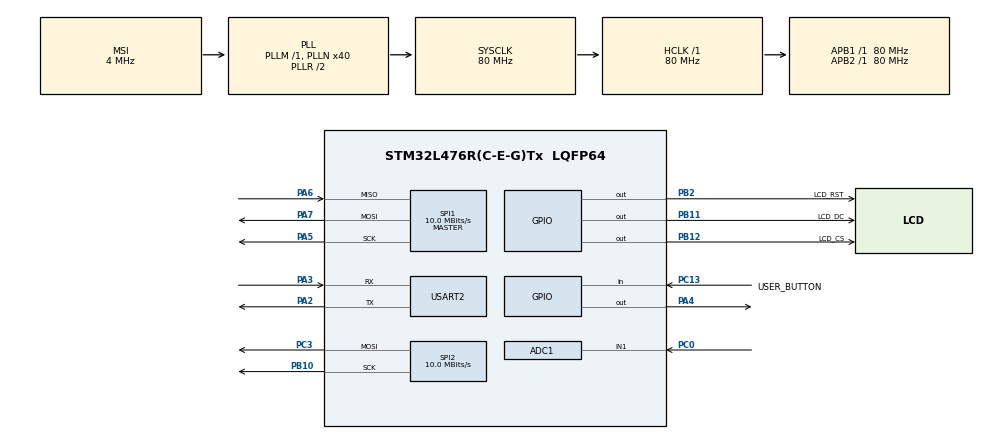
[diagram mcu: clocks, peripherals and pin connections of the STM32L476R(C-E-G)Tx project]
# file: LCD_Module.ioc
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ADC1.Channel-0\#ChannelRegularConversion=ADC_CHANNEL_1
ADC1.ContinuousConvMode=ENABLE
ADC1.DMAContinuousRequests=DISABLE
ADC1.NbrOfConversionFlag=1
ADC1.OffsetNumber-0\#ChannelRegularConversion=ADC_OFFSET_NONE
ADC1.Overrun=ADC_OVR_DATA_OVERWRITTEN
ADC1.Rank-0\#ChannelRegularConversion=1
ADC1.SamplingTime-0\#ChannelRegularConversion=ADC_SAMPLETIME_640CYCLES_5
ADC1.master=1
Dma.Request0=SPI2_TX
Dma.SPI2_TX.0.Direction=DMA_MEMORY_TO_PERIPH
Dma.SPI2_TX.0.Instance=DMA1_Channel5
Dma.SPI2_TX.0.MemDataAlignment=DMA_MDATAALIGN_BYTE
Dma.SPI2_TX.0.MemInc=DMA_MINC_ENABLE
Dma.SPI2_TX.0.Mode=DMA_NORMAL
Dma.SPI2_TX.0.PeriphDataAlignment=DMA_PDATAALIGN_BYTE
Dma.SPI2_TX.0.PeriphInc=DMA_PINC_DISABLE
Dma.SPI2_TX.0.Priority=DMA_PRIORITY_LOW
FATFS._FS_TIMEOUT=1000
FATFS._MAX_SS=4096
FATFS._USE_LFN=1
Mcu.Family=STM32L4
Mcu.Name=STM32L476R(C-E-G)Tx
Mcu.Package=LQFP64
NVIC.DMA1_Channel5_IRQn=true\:0\:0\:false\:false\:true\:false\:true\:true
NVIC.PriorityGroup=NVIC_PRIORITYGROUP_4
NVIC.TIM6_DAC_IRQn=true\:10\:0\:true\:false\:true\:true\:true\:true
NVIC.TIM7_IRQn=true\:10\:0\:true\:false\:true\:true\:true\:true
PA13\ (JTMS-SWDIO).Mode=Serial_Wire
PA13\ (JTMS-SWDIO).Signal=SYS_JTMS-SWDIO
PA14\ (JTCK-SWCLK).Mode=Serial_Wire
PA14\ (JTCK-SWCLK).Signal=SYS_JTCK-SWCLK
PA2.Mode=Asynchronous
PA2.Signal=USART2_TX
PA3.Mode=Asynchronous
PA3.Signal=USART2_RX
PA4.GPIO_Speed=GPIO_SPEED_FREQ_LOW
PA4.PinState=GPIO_PIN_SET
PA4.Signal=GPIO_Output
PA5.Mode=Full_Duplex_Master
PA5.Signal=SPI1_SCK
PA6.Mode=Full_Duplex_Master
PA6.Signal=SPI1_MISO
PA7.Mode=Full_Duplex_Master
PA7.Signal=SPI1_MOSI
PB10.Mode=TX_Only_Simplex_Unidirect_Master
PB10.Signal=SPI2_SCK
PB11.GPIO_Label=LCD_DC
PB11.Signal=GPIO_Output
PB12.GPIO_Label=LCD_CS
PB12.PinState=GPIO_PIN_SET
PB12.Signal=GPIO_Output
PB2.GPIO_Label=LCD_RST
PB2.Signal=GPIO_Output
PC0.Signal=ADCx_IN1
PC13.GPIO_Label=USER_BUTTON
PC13.Signal=GPIO_Input
PC3.Mode=TX_Only_Simplex_Unidirect_Master
PC3.Signal=SPI2_MOSI
ProjectManager.HeapSize=0x200
ProjectManager.StackSize=0x400
ProjectManager.TargetToolchain=STM32CubeIDE
RCC.ADCFreq_Value=32000000
RCC.AHBFreq_Value=80000000
RCC.APB1Freq_Value=80000000
RCC.APB1TimFreq_Value=80000000
RCC.APB2Freq_Value=80000000
RCC.APB2TimFreq_Value=80000000
RCC.CortexFreq_Value=80000000
RCC.HCLKFreq_Value=80000000
RCC.HSE_VALUE=8000000
RCC.HSI_VALUE=16000000
RCC.LSE_VALUE=32768
RCC.MSI_VALUE=4000000
RCC.PLLN=40
RCC.PLLSAI1N=16
RCC.SYSCLKFreq_VALUE=80000000
RCC.SYSCLKSource=RCC_SYSCLKSOURCE_PLLCLK
RCC.USBFreq_Value=32000000
RCC.VCOOutputFreq_Value=160000000
SH.ADCx_IN1.0=ADC1_IN1,IN1-Single-Ended
SPI1.BaudRatePrescaler=SPI_BAUDRATEPRESCALER_8
SPI1.CalculateBaudRate=10.0 MBits/s
SPI1.DataSize=SPI_DATASIZE_8BIT
SPI1.Direction=SPI_DIRECTION_2LINES
SPI1.Mode=SPI_MODE_MASTER
SPI1.NSSPMode=SPI_NSS_PULSE_ENABLE
SPI1.VirtualType=VM_MASTER
SPI2.BaudRatePrescaler=SPI_BAUDRATEPRESCALER_8
SPI2.CalculateBaudRate=10.0 MBits/s
SPI2.DataSize=SPI_DATASIZE_8BIT
SPI2.Direction=SPI_DIRECTION_2LINES
SPI2.Mode=SPI_MODE_MASTER
SPI2.NSSPMode=SPI_NSS_PULSE_DISABLE
SPI2.VirtualType=VM_MASTER
TIM6.Period=20
TIM6.Prescaler=7999
TIM7.Period=500
TIM7.Prescaler=7999
USART2.VirtualMode-Asynchronous=VM_ASYNC
VP_FATFS_VS_Generic.Mode=User_defined
VP_RTC_VS_RTC_Activate.Mode=RTC_Enabled
VP_TIM6_VS_ClockSourceINT.Mode=Enable_Timer
VP_TIM7_VS_ClockSourceINT.Mode=Enable_Timer
board=custom

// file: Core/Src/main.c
/* USER CODE BEGIN Header */
/**
  ******************************************************************************
  * @file           : main.c
  * @brief          : Main program body
  ******************************************************************************
  * @attention
  *
  * Copyright (c) 2023 STMicroelectronics.
  * All rights reserved.
  *
  * This software is licensed under terms that can be found in the LICENSE file
  * in the root directory of this software component.
  * If no LICENSE file comes with this software, it is provided AS-IS.
  *
  ******************************************************************************
  */
/* USER CODE END Header */
#include "main.h"
#include "adc.h"
#include "dma.h"
#include "fatfs.h"
#include "rtc.h"
#include "spi.h"
#include "tim.h"
#include "usart.h"
#include "gpio.h"

/* USER CODE BEGIN Includes */
#include "lcd.h"
#include <stdio.h>
#include <math.h>
#include <string.h>

/* USER CODE END Includes */

/* USER CODE BEGIN PTD */

#define GRAPH_BUFFOR_SIZE 160
#define Y_AXIS_OFFSET 1
#define X_AXIS_OFFSET 64

#define BACKGROUND_COLOR 	BLACK
#define AXIS_COLOR 			WHITE
#define CHART_COLOR			GREEN

/* USER CODE END PTD */

/* USER CODE BEGIN PD */

FATFS fs;
FIL fil;

int free_clusters;

RTC_TimeTypeDef time;
RTC_DateTypeDef date;

int seconds = 0, minutes = 0, hours = 0;

long int SD_counter = 0;

typedef struct {
    int32_t data[GRAPH_BUFFOR_SIZE];
    int head;
} GraphBuffer;

GraphBuffer graphBuffer;
GraphBuffer ZoomedOutGraphBuffer;

uint32_t value = 0;
uint32_t rescaled_value = 0;

float filteredValue = 0;  // Holds the filtered value
const float alpha = 0.7;  // Filter coefficient, adjust as needed

float voltage;

#define QRS_BUFFOR_SIZE 500

typedef struct {
	int data[QRS_BUFFOR_SIZE];
	int head;
	int previous, current, next;
} QRSBuffer;

QRSBuffer derivativeBuffer;

int derivative = 0;
int median_filtered_value = 0;

#define MEDIAN_BUFFOR_SIZE 5	//musi być liczba nieparzysta

typedef struct {
    int data[MEDIAN_BUFFOR_SIZE];
    int head;
} MedianBuffer;

MedianBuffer mBuffer;

#define LOWPASS_FILTER_SIZE 491 //41
#define LOWPASS_FILTER2_SIZE 491

typedef struct {
	int data[LOWPASS_FILTER_SIZE];
	int head;
} LowPassFilter;

LowPassFilter LowPass;

int32_t LPvalue;

int filterTimeCounter = 0;
int filterAvarageTicks = 0;
int TimeCounter = 0;

double filter_coefficients2[41] = {

		-0.00000000000000000, -0.00084388399507143, 0.00172480322214108, -0.00231835925473623, 0.00196357837057156,
		-0.00000000000000001, -0.00360465196592370, 0.00771487906070590, -0.01004082432204096, 0.00796400731979479, -0.00000000000000002,
		-0.01272687129871608, 0.02582363511903904, -0.03239793500394676, 0.02528013244720928, -0.00000000000000003, -0.04268216706926069,
		 0.09588895516209603, -0.14801625740913227, 0.18611212629983057, 0.80031766663487980, 0.18611212629983057, -0.14801625740913227,
		 0.09588895516209603, -0.04268216706926069, -0.00000000000000003, 0.02528013244720928, -0.03239793500394676, 0.02582363511903904,
		 -0.01272687129871608, -0.00000000000000002, 0.00796400731979479, -0.01004082432204096, 0.00771487906070590, -0.00360465196592370,
		 -0.00000000000000001, 0.00196357837057156, -0.00231835925473623, 0.00172480322214108, -0.00084388399507143, -0.00000000000000000};

double filter_coefficients[491] = {

		-0.006724665374820101,
		  -0.0039592405521505425,
		  -0.004879842672090847,
		  -0.005739436212265738,
		  -0.006473414299707283,
		  -0.0070174509406664065,
		  -0.007313012324351356,
		  -0.007311454168248525,
		  -0.006979710764297932,
		  -0.006302835093303763,
		  -0.005287356556378177,
		  -0.003961723353658333,
		  -0.0023757965558372303,
		  -0.0005988687959034679,
		  0.0012846423368572202,
		  0.0031804194041918123,
		  0.004989989147426519,
		  0.006617906605274425,
		  0.007978144220548312,
		  0.009000370456116963,
		  0.00963561712424311,
		  0.009859823620655492,
		  0.009675922372876462,
		  0.009114240543608798,
		  0.008229889822016166,
		  0.007098660335239779,
		  0.0058114576331865534,
		  0.004466958691646338,
		  0.0031640614866178785,
		  0.001994754958797834,
		  0.0010372535697518407,
		  0.00035018832064850084,
		  -0.0000316878151375713,
		  -0.00009979985099640354,
		  0.0001279462620581436,
		  0.0006089181959532771,
		  0.0012803236653627956,
		  0.0020655007292555163,
		  0.0028808092925518745,
		  0.003643281437626687,
		  0.004277629983100943,
		  0.004721770266061771,
		  0.004932084620797877,
		  0.004887422588363258,
		  0.004591207302807786,
		  0.004071348980577778,
		  0.0033765519649118776,
		  0.0025699599995857585,
		  0.0017229187244479393,
		  0.0009088726991713141,
		  0.000198365239799021,
		  -0.00034681086809946164,
		  -0.0006818755743303907,
		  -0.0007858211828020191,
		  -0.0006611599558581819,
		  -0.00032840133644604515,
		  0.00017727870154062673,
		  0.0007987440562488426,
		  0.0014607127507710379,
		  0.002096780427785378,
		  0.002653637338425714,
		  0.0030485458836070206,
		  0.003262979591314785,
		  0.003259839052466486,
		  0.0030431766166477132,
		  0.0026304290591559827,
		  0.0020607199420756323,
		  0.0013874693776336233,
		  0.0006749311163228131,
		  -0.00000963016661013781,
		  -0.0006010655262245917,
		  -0.0010439535004921193,
		  -0.001297748856870107,
		  -0.0013405110851259089,
		  -0.0011714991943510562,
		  -0.000810879483457281,
		  -0.00029742430192708215,
		  0.0003146649172919567,
		  0.0009616688975564811,
		  0.0015764142387132863,
		  0.0020945573064679863,
		  0.0024615771594911993,
		  0.0026382054341945907,
		  0.0026040197751395593,
		  0.002360063382717492,
		  0.0019285413288921607,
		  0.0013502288762677727,
		  0.0006807841869889326,
		  -0.000014480375247198256,
		  -0.0006671131049351773,
		  -0.001212448893684446,
		  -0.001596269583429432,
		  -0.0017803135592194073,
		  -0.0017463361417471976,
		  -0.0014977962895742914,
		  -0.001059186745037265,
		  -0.0004742618964127832,
		  0.00019770396757928525,
		  0.000888040002417127,
		  0.001525689456974742,
		  0.002044653947339687,
		  0.0023908249025104606,
		  0.0025267086770198142,
		  0.002435174721928312,
		  0.002121905862725469,
		  0.0016154484421309916,
		  0.0009647222256839877,
		  0.000233563635124051,
		  -0.0005063531853019121,
		  -0.0011813298880232114,
		  -0.0017222632441453295,
		  -0.002072835626498741,
		  -0.0021966661307383064,
		  -0.002080080229624072,
		  -0.0017316884329294407,
		  -0.001183300533026521,
		  -0.0004903977566402818,
		  0.0002776975291079214,
		  0.0010459705289211738,
		  0.0017342987007244492,
		  0.002268932313180422,
		  0.002598334594491151,
		  0.002679463736630121,
		  0.0025046953842694387,
		  0.002084506654881727,
		  0.0014587960530604393,
		  0.0006866415726633514,
		  -0.00015578410529333046,
		  -0.0009850387611147508,
		  -0.001716475964921645,
		  -0.0022751481102348077,
		  -0.0026016183324591483,
		  -0.0026592322103422945,
		  -0.0024380894815064376,
		  -0.001955852355017696,
		  -0.0012571698284203788,
		  -0.00040970036530490995,
		  0.0005030366132415669,
		  0.0013889951855443744,
		  0.0021573580428614707,
		  0.0027280556827255858,
		  0.003039136013865625,
		  0.003053521103786466,
		  0.002763810546538518,
		  0.002193151835628833,
		  0.0013936931549081402,
		  0.0004420555157804875,
		  -0.0005682957821342262,
		  -0.0015363221411339113,
		  -0.0023631979727147816,
		  -0.002962018447783027,
		  -0.0032670132481304294,
		  -0.0032411431703225813,
		  -0.0028801596282385347,
		  -0.0022134906585668315,
		  -0.0013022175330133895,
		  -0.00023344257158772061,
		  0.0008877621092884505,
		  0.001948251056949869,
		  0.0028385216433642895,
		  0.0034640646473657285,
		  0.003754952085148802,
		  0.0036733777478027275,
		  0.0032180385336624713,
		  0.0024256319928504327,
		  0.0013685039871313138,
		  0.00014742315498719977,
		  -0.0011182060861168336,
		  -0.0023010017621534723,
		  -0.003278237649604041,
		  -0.003944975486449301,
		  -0.004225447724876906,
		  -0.004080471110798365,
		  -0.003512223671868546,
		  -0.002566804645981423,
		  -0.0013303407668937672,
		  0.00008083661809819983,
		  0.0015283011428720487,
		  0.0028647573653323715,
		  0.003951821725081272,
		  0.0046715158281848065,
		  0.004937056494208208,
		  0.004709339867739604,
		  0.0039929468318752985,
		  0.002846563055546284,
		  0.0013713053632263285,
		  -0.0002930863055740355,
		  -0.001984494759627223,
		  -0.0035309946691470698,
		  -0.0047707894977827734,
		  -0.005565436118432528,
		  -0.005818010832860896,
		  -0.005482124573820861,
		  -0.004569201490560631,
		  -0.003149980554713361,
		  -0.0013485107230243431,
		  0.0006675135833448967,
		  0.0027010726086147867,
		  0.004545813474137445,
		  0.006005545901987634,
		  0.006914038674769464,
		  0.007153828906109374,
		  0.006669593976789687,
		  0.005475923408668897,
		  0.003659906521809703,
		  0.0013758828686440234,
		  -0.0011670880119533842,
		  -0.003723465881098876,
		  -0.006033477794114198,
		  -0.007847911134326176,
		  -0.00895361528950788,
		  -0.00919654696182677,
		  -0.008499976682260126,
		  -0.00687683209351048,
		  -0.004433591159930186,
		  -0.0013650181362259298,
		  0.0020590529469560986,
		  0.005514953655964573,
		  0.008653130201617525,
		  0.011130081179609811,
		  0.012641896880767457,
		  0.012955860115718755,
		  0.011937431472223406,
		  0.00957094808924724,
		  0.005970361321244434,
		  0.001378649724826345,
		  -0.003843202803927939,
		  -0.009237945620379866,
		  -0.014284003731359221,
		  -0.018434636670428897,
		  -0.021161074404101234,
		  -0.021996111287966347,
		  -0.020576235774781685,
		  -0.0166771128822221,
		  -0.010238084024046364,
		  -0.0013766816948736296,
		  0.00960890053902094,
		  0.02225469804659545,
		  0.03595673277608928,
		  0.05000709575744708,
		  0.06364204656716094,
		  0.07609342946430755,
		  0.08663919655603505,
		  0.09465877281488098,
		  0.09967180301038488,
		  0.10137741882288678,
		  0.09967180301038488,
		  0.09465877281488098,
		  0.08663919655603505,
		  0.07609342946430755,
		  0.06364204656716094,
		  0.05000709575744708,
		  0.03595673277608928,
		  0.02225469804659545,
		  0.00960890053902094,
		  -0.0013766816948736296,
		  -0.010238084024046364,
		  -0.0166771128822221,
		  -0.020576235774781685,
		  -0.021996111287966347,
		  -0.021161074404101234,
		  -0.018434636670428897,
		  -0.014284003731359221,
		  -0.009237945620379866,
		  -0.003843202803927939,
		  0.001378649724826345,
		  0.005970361321244434,
		  0.00957094808924724,
		  0.011937431472223406,
		  0.012955860115718755,
		  0.012641896880767457,
		  0.011130081179609811,
		  0.008653130201617525,
		  0.005514953655964573,
		  0.0020590529469560986,
		  -0.0013650181362259298,
		  -0.004433591159930186,
		  -0.00687683209351048,
		  -0.008499976682260126,
		  -0.00919654696182677,
		  -0.00895361528950788,
		  -0.007847911134326176,
		  -0.006033477794114198,
		  -0.003723465881098876,
		  -0.0011670880119533842,
		  0.0013758828686440234,
		  0.003659906521809703,
		  0.005475923408668897,
		  0.006669593976789687,
		  0.007153828906109374,
		  0.006914038674769464,
		  0.006005545901987634,
		  0.004545813474137445,
		  0.0027010726086147867,
		  0.0006675135833448967,
		  -0.0013485107230243431,
		  -0.003149980554713361,
		  -0.004569201490560631,
		  -0.005482124573820861,
		  -0.005818010832860896,
		  -0.005565436118432528,
		  -0.0047707894977827734,
		  -0.0035309946691470698,
		  -0.001984494759627223,
		  -0.0002930863055740355,
		  0.0013713053632263285,
		  0.002846563055546284,
		  0.0039929468318752985,
		  0.004709339867739604,
		  0.004937056494208208,
		  0.0046715158281848065,
		  0.003951821725081272,
		  0.0028647573653323715,
		  0.0015283011428720487,
		  0.00008083661809819983,
		  -0.0013303407668937672,
		  -0.002566804645981423,
		  -0.003512223671868546,
		  -0.004080471110798365,
		  -0.004225447724876906,
		  -0.003944975486449301,
		  -0.003278237649604041,
		  -0.0023010017621534723,
		  -0.0011182060861168336,
		  0.00014742315498719977,
		  0.0013685039871313138,
		  0.0024256319928504327,
		  0.0032180385336624713,
		  0.0036733777478027275,
		  0.003754952085148802,
		  0.0034640646473657285,
		  0.0028385216433642895,
		  0.001948251056949869,
		  0.0008877621092884505,
		  -0.00023344257158772061,
		  -0.0013022175330133895,
		  -0.0022134906585668315,
		  -0.0028801596282385347,
		  -0.0032411431703225813,
		  -0.0032670132481304294,
		  -0.002962018447783027,
		  -0.0023631979727147816,
		  -0.0015363221411339113,
		  -0.0005682957821342262,
		  0.0004420555157804875,
		  0.0013936931549081402,
		  0.002193151835628833,
		  0.002763810546538518,
		  0.003053521103786466,
		  0.003039136013865625,
		  0.0027280556827255858,
		  0.0021573580428614707,
		  0.0013889951855443744,
		  0.0005030366132415669,
		  -0.00040970036530490995,
		  -0.0012571698284203788,
		  -0.001955852355017696,
		  -0.0024380894815064376,
		  -0.0026592322103422945,
		  -0.0026016183324591483,
		  -0.0022751481102348077,
		  -0.001716475964921645,
		  -0.0009850387611147508,
		  -0.00015578410529333046,
		  0.0006866415726633514,
		  0.0014587960530604393,
		  0.002084506654881727,
		  0.0025046953842694387,
		  0.002679463736630121,
		  0.002598334594491151,
		  0.002268932313180422,
		  0.0017342987007244492,
		  0.0010459705289211738,
		  0.0002776975291079214,
		  -0.0004903977566402818,
		  -0.001183300533026521,
		  -0.0017316884329294407,
		  -0.002080080229624072,
		  -0.0021966661307383064,
		  -0.002072835626498741,
		  -0.0017222632441453295,
		  -0.0011813298880232114,
		  -0.0005063531853019121,
		  0.000233563635124051,
		  0.0009647222256839877,
		  0.0016154484421309916,
		  0.002121905862725469,
		  0.002435174721928312,
		  0.0025267086770198142,
		  0.0023908249025104606,
		  0.002044653947339687,
		  0.001525689456974742,
		  0.000888040002417127,
		  0.00019770396757928525,
		  -0.0004742618964127832,
		  -0.001059186745037265,
		  -0.0014977962895742914,
		  -0.0017463361417471976,
		  -0.0017803135592194073,
		  -0.001596269583429432,
		  -0.001212448893684446,
		  -0.0006671131049351773,
		  -0.000014480375247198256,
		  0.0006807841869889326,
		  0.0013502288762677727,
		  0.0019285413288921607,
		  0.002360063382717492,
		  0.0026040197751395593,
		  0.0026382054341945907,
		  0.0024615771594911993,
		  0.0020945573064679863,
		  0.0015764142387132863,
		  0.0009616688975564811,
		  0.0003146649172919567,
		  -0.00029742430192708215,
		  -0.000810879483457281,
		  -0.0011714991943510562,
		  -0.0013405110851259089,
		  -0.001297748856870107,
		  -0.0010439535004921193,
		  -0.0006010655262245917,
		  -0.00000963016661013781,
		  0.0006749311163228131,
		  0.0013874693776336233,
		  0.0020607199420756323,
		  0.0026304290591559827,
		  0.0030431766166477132,
		  0.003259839052466486,
		  0.003262979591314785,
		  0.0030485458836070206,
		  0.002653637338425714,
		  0.002096780427785378,
		  0.0014607127507710379,
		  0.0007987440562488426,
		  0.00017727870154062673,
		  -0.00032840133644604515,
		  -0.0006611599558581819,
		  -0.0007858211828020191,
		  -0.0006818755743303907,
		  -0.00034681086809946164,
		  0.000198365239799021,
		  0.0009088726991713141,
		  0.0017229187244479393,
		  0.0025699599995857585,
		  0.0033765519649118776,
		  0.004071348980577778,
		  0.004591207302807786,
		  0.004887422588363258,
		  0.004932084620797877,
		  0.004721770266061771,
		  0.004277629983100943,
		  0.003643281437626687,
		  0.0028808092925518745,
		  0.0020655007292555163,
		  0.0012803236653627956,
		  0.0006089181959532771,
		  0.0001279462620581436,
		  -0.00009979985099640354,
		  -0.0000316878151375713,
		  0.00035018832064850084,
		  0.0010372535697518407,
		  0.001994754958797834,
		  0.0031640614866178785,
		  0.004466958691646338,
		  0.0058114576331865534,
		  0.007098660335239779,
		  0.008229889822016166,
		  0.009114240543608798,
		  0.009675922372876462,
		  0.009859823620655492,
		  0.00963561712424311,
		  0.009000370456116963,
		  0.007978144220548312,
		  0.006617906605274425,
		  0.004989989147426519,
		  0.0031804194041918123,
		  0.0012846423368572202,
		  -0.0005988687959034679,
		  -0.0023757965558372303,
		  -0.003961723353658333,
		  -0.005287356556378177,
		  -0.006302835093303763,
		  -0.006979710764297932,
		  -0.007311454168248525,
		  -0.007313012324351356,
		  -0.0070174509406664065,
		  -0.006473414299707283,
		  -0.005739436212265738,
		  -0.004879842672090847,
		  -0.0039592405521505425,
		  -0.006724665374820101
};

enum display_mode{ZOOM_IN, ZOOM_OUT};
enum display_mode display_mode = ZOOM_OUT;

int already_changed = 0;

//####################################### QRS detection #######################################
#define F_SAMPLE 500
#define TRESHOLD_MULT 0.7
#define WINDOW_SEARCH 40
#define SKIP_VALUE 80
#define QRS_SETUP 1000

#define QRS_INIT_ITERATIONS 12		//ilosc wykrytych zespolow qrs, po ktorych nastapi obliczenie tetna

#define WAITING 1000

typedef struct {
int M[QRS_INIT_ITERATIONS];
long M_value[QRS_INIT_ITERATIONS];
int S1[QRS_INIT_ITERATIONS];
long treshold;
int intervals[QRS_INIT_ITERATIONS];
int current_interval_len;
int current_interval;
} QRS_process_properties;

QRS_process_properties QRS_prop;

enum QRS_State {INIT, TRESHOLD_SEARCH, MAXIMUM_SEARCH, RELAX, WAIT_ON_START};
enum QRS_State Stan_algorytmu = WAIT_ON_START;

int waiting_time = 0;

int init_phase = 0;
int init_samples = 0;
int max_value = 0;
int m_value_head = 0;	//index do tablicy M_value
int s1_head = 0;

int RR = 0;

int sample_num = 0;

int intervals_head = 0;

int pulse = 0;

int sample_skip = 0;

int max_avarage = 0;
int intervals_avarage = 0;

int max_pulse = 0;
int min_pulse = -1;
char min_pulse_tab[22];
char max_pulse_tab[22];

//#################################################################################################

int xPos = 1;
int data_new = 0;
int data_old = 0;

char timer[8];
char pulse_tab[5];

int min_adc_value = 200;
int max_adc_value = 0;

//######################### filtr IIR  ####################################################

int TestValue = 0;
int TestValue2 = 0;

/* USER CODE END PD */

void SystemClock_Config(void);

/* USER CODE BEGIN 0 */

void DrawAxis(uint16_t xAxis, uint16_t yAxis, uint16_t color) {

	for(int i = 0; i < LCD_HEIGHT; i++){
		lcd_put_pixel(yAxis, i, color);
	}
	for(int i = Y_AXIS_OFFSET; i <= LCD_WIDTH - Y_AXIS_OFFSET; i++){
		lcd_put_pixel(i, xAxis, color);
	}

}

void GraphBuffer_Init(GraphBuffer *buffer) {
    buffer->head = 0;
    int i;
    for (i = 0; i < GRAPH_BUFFOR_SIZE; i++) {
        buffer->data[i] = 64;
    }
}

void MedianBuffer_Init(MedianBuffer *buffer){
	buffer->head = 0;
	int i;
	for (i=0; i < MEDIAN_BUFFOR_SIZE; i++){
		buffer->data[i] = 0;
	}
}

void LowPassBuffer_Init(LowPassFilter *buffer){
	buffer->head = 0;
	int i;
	for (i=0; i < LOWPASS_FILTER_SIZE; i++){
		buffer->data[i] = 0;
	}
}

void GraphBuffer_Add(GraphBuffer *buffer, int value) {
    buffer->data[buffer->head] = value;
    buffer->head = (buffer->head + 1) % GRAPH_BUFFOR_SIZE;
}

void QRSBuffer_Add(QRSBuffer *buffer, int value) {
    buffer->data[buffer->head] = value;
    buffer->head = (buffer->head + 1) % QRS_BUFFOR_SIZE;
}

void MedianBuffer_Add(MedianBuffer *buffer, int value) {
    buffer->data[buffer->head] = value;
    buffer->head = (buffer->head + 1) % MEDIAN_BUFFOR_SIZE;
}

void LowPassBuffer_Add(LowPassFilter *buffer, int value) {
    buffer->data[buffer->head] = value;
    buffer->head = (buffer->head + 1) % LOWPASS_FILTER_SIZE;
}

void bubbleSort(int32_t *arr, int32_t size) {
    int i, j;
    for (i = 0; i < size-1; i++)
        for (j = 0; j < size-i-1; j++)
            if (arr[j] > arr[j+1]) {
                // Zamiana miejscami arr[j] i arr[j+1]
                int temp = arr[j];
                arr[j] = arr[j+1];
                arr[j+1] = temp;
            }
}

int32_t get_median(int32_t *arr, int32_t size){ return arr[ (size/2) + 1 ]; }

int32_t filter_median(int32_t new_data){
	int32_t tmp_array[MEDIAN_BUFFOR_SIZE];
	int32_t out = 0;

	MedianBuffer_Add(&mBuffer, new_data);

	memcpy(tmp_array, mBuffer.data, sizeof(tmp_array));
	bubbleSort(tmp_array, MEDIAN_BUFFOR_SIZE);

	out = get_median(tmp_array, MEDIAN_BUFFOR_SIZE);

	return out;
}

int32_t LPFilter(int32_t new_data){
	LowPassBuffer_Add(&LowPass, new_data);

	double output = 0;
	int index = LowPass.head;
	for (int i = 0; i < LOWPASS_FILTER_SIZE; ++i) {
	    index = index != 0 ? index - 1 : LOWPASS_FILTER_SIZE - 1;
	    output += filter_coefficients[i] * LowPass.data[index];
	}

	    return output;

}

long map(long x, long in_min, long in_max, long out_min, long out_max)
{
  return (x - in_min) * (out_max - out_min) / (in_max - in_min) + out_min;
}

int __io_putchar(int ch)
{
  if (ch == '\n') {
    __io_putchar('\r');
  }

  HAL_UART_Transmit(&huart2, (uint8_t*)&ch, 1, HAL_MAX_DELAY);

  return 1;
}

void HAL_TIM_PeriodElapsedCallback(TIM_HandleTypeDef *htim)
{
  if (htim == &htim6) {

	  	  HAL_ADCEx_Calibration_Start(&hadc1, ADC_SINGLE_ENDED);
	  	  HAL_ADC_Start(&hadc1);

	  	  value = HAL_ADC_GetValue(&hadc1);	// 25 cycles

	  	  LPvalue = LPFilter(value);

	  	  filteredValue = (1 - alpha) * LPvalue + alpha * filteredValue;

	  	 // DWT->CYCCNT = 0;
	  	  median_filtered_value = filter_median(filteredValue);

	  	  derivativeBuffer.previous =  derivativeBuffer.current;
	  	  derivativeBuffer.current =  derivativeBuffer.next;
	  	  derivativeBuffer.next = median_filtered_value;

	  	  derivative = abs(derivativeBuffer.next - derivativeBuffer.previous);
	  	  if(derivative < 30)
	  		  derivative = 0;

	  	  TestValue = map(median_filtered_value, 0, 4096, 0, 128);
	  	  TestValue2 = map(value, 0, 4096, 0, 128);
	  	  printf("%ld,%ld\n", TestValue, TestValue2);

	  	  QRSBuffer_Add(&derivativeBuffer, derivative);

	  	  rescaled_value = map(median_filtered_value, 0, 4096, 0, 128);

	  	  //###################################### PROCES WYKRYWANIA QRS ######################################

	  	  switch(Stan_algorytmu){

	  	  case WAIT_ON_START:
	  		  if(waiting_time < WAITING){
	  			  waiting_time++;
	  		  }
	  		  else{
	  			  waiting_time = 0;
	  			  Stan_algorytmu = INIT;
	  		  }
	  		  break;

	  	  case INIT:

	  		  if(init_samples < QRS_SETUP){
		  		  if((max_value < derivativeBuffer.data[derivativeBuffer.head - 1]) && (derivativeBuffer.head != 0)){
		  			max_value = derivativeBuffer.data[derivativeBuffer.head - 1];
		  		  }

		  		  init_samples++;
	  		  }
	  		  else{
	  			  QRS_prop.treshold = max_value * TRESHOLD_MULT;
	  			  //resetujemy zmienna max_value i init_samples, aby były gotowe do ponownego procesu inicjalizacji w przypadku bledu
	  			  max_value = 0;
	  			  init_samples = 0;
	  			  init_phase = 1;
	  			  Stan_algorytmu = TRESHOLD_SEARCH;
	  		  }

	  		  break;

	  	  case TRESHOLD_SEARCH:

	  		  if((derivativeBuffer.data[derivativeBuffer.head - 1] >= QRS_prop.treshold) && (derivativeBuffer.head != 0)){
	  			QRS_prop.S1[s1_head] = derivativeBuffer.data[derivativeBuffer.head - 1];

	  			if(s1_head < QRS_INIT_ITERATIONS - 1){
	  			  s1_head++;
	  			}
	  			else{
	  			  s1_head = 0;
	  			}

	  			Stan_algorytmu = MAXIMUM_SEARCH;
	  		  }
	  		  else{

	  		    RR++;

	  		  }

	  		  break;

	  	  case MAXIMUM_SEARCH:

	  		  if(sample_num < WINDOW_SEARCH){
	  			  if((derivativeBuffer.data[derivativeBuffer.head - 1] >= QRS_prop.S1[s1_head]) && (derivativeBuffer.head != 0)){
	  				  if((RR < 700) || (RR >= 0)){		//zabezpieczenie przed przekraczaniem zbyt dużych wartosci
	  	  				QRS_prop.M[m_value_head] = RR;
	  	  				QRS_prop.M_value[m_value_head] = derivativeBuffer.data[derivativeBuffer.head - 1];
	  				  }
	  			  }

	  			  RR++;
	  			  sample_num++;
	  		  }
	  		  else{
	  			  QRS_prop.intervals[intervals_head] = QRS_prop.M[m_value_head];		//wpisanie znalezionej wartosci RR do tablicy intervals
	  			  if(intervals_head < QRS_INIT_ITERATIONS - 1){
	  				intervals_head++;
	  			  }
	  			  else{
	  				  intervals_head = 0;
	  			  }

	  			  sample_num = 0;
	  			  if(m_value_head < QRS_INIT_ITERATIONS - 1){
	  				m_value_head++;
	  			  }
	  			  else{
	  				  int i;
	  				  max_avarage = 0;

	  				  for(i = 0; i < QRS_INIT_ITERATIONS; i++){
	  					  max_avarage += QRS_prop.M_value[i];
	  				  }

	  				  max_avarage = max_avarage / QRS_INIT_ITERATIONS;
	  				  QRS_prop.treshold = max_avarage * TRESHOLD_MULT;

	  				  //zabezpieczenie przed ujemnymi wartosciami RR
	  				  if(RR - QRS_prop.M[m_value_head] < 0){
	  					  RR = 0;
	  				  }
	  				  else{
	  					RR = RR - QRS_prop.M[m_value_head];	//reset RR tak, żeby zawierał już próbki od maximum do końca Window search
	  				  }

	  				  intervals_avarage = 0;
	  				  for(i = 0; i < QRS_INIT_ITERATIONS; i++){
	  					intervals_avarage += QRS_prop.intervals[i];
	  				  }
	  				 // intervals_avarage = (intervals_avarage - min - max) / (QRS_INIT_ITERATIONS - 2);
	  				 intervals_avarage = intervals_avarage / QRS_INIT_ITERATIONS;

	  				 pulse = (60 * F_SAMPLE) / intervals_avarage;

	  				 //ustawianie max i min pulse
	  				 if(init_phase != 0){
		  				 if(pulse > max_pulse){
		  					 max_pulse = pulse;
		  				 }

		  				 if(pulse < min_pulse){
		  					 min_pulse = pulse;
		  				 }
		  				 else if(min_pulse == -1){
		  					 min_pulse = pulse;
		  				 }

	  				 }

	  				  m_value_head = 0;
	  				  Stan_algorytmu = RELAX;
	  			  }
	  		  }
	  		  break;

	  	  case RELAX:

	  		  if(sample_skip < SKIP_VALUE){
	  			  sample_skip++;
	  			  RR++;
	  		  }
	  		  else{
	  			  sample_skip = 0;
	  			  Stan_algorytmu = TRESHOLD_SEARCH;
	  		  }

	  		  break;
	  	  }

	  	  //###################################### KONIEC PROCESU WYKRYWANIA QRS ######################################

	  	  GraphBuffer_Add(&graphBuffer,  rescaled_value);
	  	  if(abs(rescaled_value - data_new) < 2){
	  		GraphBuffer_Add(&ZoomedOutGraphBuffer, data_new);

	  	  }
	  	  else{
	  		GraphBuffer_Add(&ZoomedOutGraphBuffer, rescaled_value);
	  		data_new = rescaled_value;
	  	  }

	  	  if(init_phase != 0){
		  	  if(rescaled_value > max_adc_value){
		  		  lcd_draw_horizontal_line(max_adc_value, BLACK);
		  		  max_adc_value = rescaled_value;
		  	  }

		  	  if(rescaled_value < min_adc_value && rescaled_value != 0){
		  		  lcd_draw_horizontal_line(min_adc_value, BLACK);
		  		  min_adc_value = rescaled_value;
		  	  }
	  	  }

	  	  char txtToSD[8] = {0,0,0,0,0,0,0,0};	// 21 cycles

	  	  sprintf(txtToSD, "%li", rescaled_value);

	  	  if(SD_counter != -1){
			  if(++SD_counter < 20000){

				f_open(&fil, "write.txt", FA_OPEN_ALWAYS | FA_WRITE | FA_READ);
				f_lseek(&fil, f_size(&fil));
				int o =  f_puts(txtToSD, &fil);
				f_puts(";", &fil);
				f_close(&fil);
			  }
			  else{
				f_mount(&fs, "", 0);
				SD_counter = -1;
			  }							// 777 cycles

	  	  }

	  	__WFI();	//uśpienie mikrokontrolera

	  	  	  //264 322 cycles
  }
  else if(htim == &htim7){
	  HAL_TIM_Base_Stop_IT(&htim6);

  	  //fill_with(BACKGROUND_COLOR);
  	  DrawAxis(X_AXIS_OFFSET, Y_AXIS_OFFSET, AXIS_COLOR);

  	  HAL_RTC_GetTime(&hrtc, &time, RTC_FORMAT_BIN);
  	  HAL_RTC_GetDate(&hrtc, &date, RTC_FORMAT_BIN);
  	  seconds = time.Seconds;
  	  minutes = time.Minutes;
  	  hours = time.Hours;

  	  sprintf(timer, "0:%d:%d", minutes, seconds);//hours, minutes, seconds);
  	  sprintf(pulse_tab, "%d", pulse);
  	  sprintf(min_pulse_tab, "min pulse: %d /min", min_pulse);
  	  sprintf(max_pulse_tab, "max pulse: %d /min", max_pulse);

  	  lcd_fill_box(5, 5, LCD_WIDTH, 25, BACKGROUND_COLOR);
  	  LCD_DisplayString(5, 5, timer, WHITE);
  	  LCD_DisplayString(5, 15, pulse_tab, WHITE);
  	  LCD_DisplayString(40, 5, min_pulse_tab, WHITE);
  	  LCD_DisplayString(40, 15, max_pulse_tab, WHITE);
      lcd_draw_horizontal_line(min_adc_value, BLUE);
      lcd_draw_horizontal_line(max_adc_value, RED);

  	  switch(display_mode){

  	  	  case ZOOM_OUT:

  	  		  if (xPos >= 160){
  	  		  	  xPos = 0;
  	  		  	  fill_with(BACKGROUND_COLOR);
  	  	          lcd_draw_horizontal_line(min_adc_value, BLUE);
  	  	          lcd_draw_horizontal_line(max_adc_value, RED);
  	  		  }
  	  		  else{

  	  			  // increment the horizontal position:
  	  			  if(ZoomedOutGraphBuffer.head != 0){
  	  				  LCD_DrawLine(xPos - 1, LCD_HEIGHT - ZoomedOutGraphBuffer.data[ZoomedOutGraphBuffer.head - 1], xPos, LCD_HEIGHT - ZoomedOutGraphBuffer.data[ZoomedOutGraphBuffer.head], CHART_COLOR);
  	  			  }
  	  			  else{
  	  				  LCD_DrawLine(xPos - 1, LCD_HEIGHT - data_old, xPos, LCD_HEIGHT - data_new, CHART_COLOR);
  	  			  }
  	  	    	  LCD_DisplayString(40, 5, min_pulse_tab, WHITE);
  	  	    	  LCD_DisplayString(40, 15, max_pulse_tab, WHITE);

  	  		  	  data_old = data_new;
  	  		  	  xPos++;
  	  		  }

  	  		  break;

  	  	  case ZOOM_IN:

  	  		  fill_with(BACKGROUND_COLOR);
  	    	  LCD_DisplayString(5, 5, timer, WHITE);
  	    	  LCD_DisplayString(5, 15, pulse_tab, WHITE);
  	    	  LCD_DisplayString(40, 5, min_pulse_tab, WHITE);
  	    	  LCD_DisplayString(40, 15, max_pulse_tab, WHITE);
  	          lcd_draw_horizontal_line(min_adc_value, BLUE);
  	          lcd_draw_horizontal_line(max_adc_value, RED);
  	  		  DrawAxis(X_AXIS_OFFSET, Y_AXIS_OFFSET, AXIS_COLOR);
  	  		  for(int i = 0, j = Y_AXIS_OFFSET; i < GRAPH_BUFFOR_SIZE - Y_AXIS_OFFSET; i++, j++){
  	  			  lcd_put_pixel(j, LCD_HEIGHT - graphBuffer.data[i], CHART_COLOR);								//wykres moze być do góry nogami, zrobienie LCD_HEIGHT - graphbuffor powoduje hard faulta
  	  		  }

  	  		  break;
  	  }

  	  lcd_copy();//5216 cycles
  	  HAL_TIM_Base_Start_IT(&htim6);
  	  __WFI();	//uśpienie mikrokontrolera

  }
}

/* USER CODE END 0 */

int main(void)
{
  /* USER CODE BEGIN 1 */

	derivativeBuffer.previous = 0;
	derivativeBuffer.current =  0;
	derivativeBuffer.next =     0;

  /* USER CODE END 1 */

  /* MCU Configuration--------------------------------------------------------*/

  /* Reset of all peripherals, Initializes the Flash interface and the Systick. */
  HAL_Init();

  /* Configure the system clock */
  SystemClock_Config();

  /* Initialize all configured peripherals */
  MX_GPIO_Init();
  MX_DMA_Init();
  MX_SPI2_Init();
  MX_ADC1_Init();
  MX_SPI1_Init();
  MX_FATFS_Init();
  MX_TIM6_Init();
  MX_TIM7_Init();
  MX_RTC_Init();
  MX_USART2_UART_Init();
  /* USER CODE BEGIN 2 */

	RTC_TimeTypeDef reset_time;
	reset_time.Hours = 0;
	reset_time.Minutes = 0;
	reset_time.Seconds = 0;
	HAL_RTC_SetTime(&hrtc, &reset_time, RTC_FORMAT_BIN);

    CoreDebug->DEMCR |= CoreDebug_DEMCR_TRCENA_Msk;
    DWT->CYCCNT = 0;
    DWT->CTRL |= DWT_CTRL_CYCCNTENA_Msk;

  /* USER CODE END 2 */

  /* Infinite loop */
  /* USER CODE BEGIN WHILE */
  lcd_init();

  HAL_ADCEx_Calibration_Start(&hadc1, ADC_SINGLE_ENDED);
  lcd_copy();

  GraphBuffer_Init(&graphBuffer);
  GraphBuffer_Init(&ZoomedOutGraphBuffer);
  MedianBuffer_Init(&mBuffer);
  LowPassBuffer_Init(&LowPass);

  HAL_TIM_Base_Start_IT(&htim6);
  HAL_TIM_Base_Start_IT(&htim7);

  HAL_Delay(500);
  int x = f_mount(&fs, "", 0);
  int y = f_open(&fil, "write.txt", FA_OPEN_ALWAYS | FA_WRITE | FA_READ);
  int z = f_lseek(&fil, f_size(&fil));
  int v = f_puts("Hello from Kamil\n", &fil);

  int b = f_close(&fil);
  int n = f_mount(&fs, "", 0);

  while (1)
  {
    /* USER CODE END WHILE */

    /* USER CODE BEGIN 3 */

	  if (HAL_GPIO_ReadPin(USER_BUTTON_GPIO_Port, USER_BUTTON_Pin) == GPIO_PIN_RESET) {
		  if(display_mode == ZOOM_OUT && already_changed == 0){

  	  		  fill_with(BACKGROUND_COLOR);
  	    	  LCD_DisplayString(5, 5, timer, WHITE);
  	    	  LCD_DisplayString(5, 15, pulse_tab, WHITE);

  	  		  DrawAxis(X_AXIS_OFFSET, Y_AXIS_OFFSET, AXIS_COLOR);
  	  		  lcd_copy();
  	  		  xPos = 1;

			  display_mode = ZOOM_IN;
			  already_changed = 1;
		  }
		  else if(display_mode == ZOOM_IN && already_changed == 0){

  	  		  fill_with(BACKGROUND_COLOR);
  	    	  LCD_DisplayString(5, 5, timer, WHITE);
  	    	  LCD_DisplayString(5, 15, pulse_tab, WHITE);
  	  		  DrawAxis(X_AXIS_OFFSET, Y_AXIS_OFFSET, AXIS_COLOR);
  	  		  lcd_copy();

			  display_mode = ZOOM_OUT;
			  already_changed = 1;
		  }
	  }
	  else{
		  already_changed = 0;
	  }
	  __WFI();

	  //HAL_Delay(1);
  }
  /* USER CODE END 3 */
}

void SystemClock_Config(void)
{
  RCC_OscInitTypeDef RCC_OscInitStruct = {0};
  RCC_ClkInitTypeDef RCC_ClkInitStruct = {0};

  /** Configure the main internal regulator output voltage
  */
  if (HAL_PWREx_ControlVoltageScaling(PWR_REGULATOR_VOLTAGE_SCALE1) != HAL_OK)
  {
    Error_Handler();
  }

  /** Initializes the RCC Oscillators according to the specified parameters
  * in the RCC_OscInitTypeDef structure.
  */
  RCC_OscInitStruct.OscillatorType = RCC_OSCILLATORTYPE_LSI|RCC_OSCILLATORTYPE_MSI;
  RCC_OscInitStruct.LSIState = RCC_LSI_ON;
  RCC_OscInitStruct.MSIState = RCC_MSI_ON;
  RCC_OscInitStruct.MSICalibrationValue = 0;
  RCC_OscInitStruct.MSIClockRange = RCC_MSIRANGE_6;
  RCC_OscInitStruct.PLL.PLLState = RCC_PLL_ON;
  RCC_OscInitStruct.PLL.PLLSource = RCC_PLLSOURCE_MSI;
  RCC_OscInitStruct.PLL.PLLM = 1;
  RCC_OscInitStruct.PLL.PLLN = 40;
  RCC_OscInitStruct.PLL.PLLP = RCC_PLLP_DIV7;
  RCC_OscInitStruct.PLL.PLLQ = RCC_PLLQ_DIV2;
  RCC_OscInitStruct.PLL.PLLR = RCC_PLLR_DIV2;
  if (HAL_RCC_OscConfig(&RCC_OscInitStruct) != HAL_OK)
  {
    Error_Handler();
  }

  /** Initializes the CPU, AHB and APB buses clocks
  */
  RCC_ClkInitStruct.ClockType = RCC_CLOCKTYPE_HCLK|RCC_CLOCKTYPE_SYSCLK
                              |RCC_CLOCKTYPE_PCLK1|RCC_CLOCKTYPE_PCLK2;
  RCC_ClkInitStruct.SYSCLKSource = RCC_SYSCLKSOURCE_PLLCLK;
  RCC_ClkInitStruct.AHBCLKDivider = RCC_SYSCLK_DIV1;
  RCC_ClkInitStruct.APB1CLKDivider = RCC_HCLK_DIV1;
  RCC_ClkInitStruct.APB2CLKDivider = RCC_HCLK_DIV1;

  if (HAL_RCC_ClockConfig(&RCC_ClkInitStruct, FLASH_LATENCY_4) != HAL_OK)
  {
    Error_Handler();
  }
}

/* USER CODE BEGIN 4 */

void HAL_SPI_TxCpltCallback(SPI_HandleTypeDef *hspi)
{
	if (hspi == &hspi2)
	{
		lcd_transfer_done();
	}
}

/* USER CODE END 4 */

void Error_Handler(void)
{
  __disable_irq();
  while (1)
  {
  }
}
